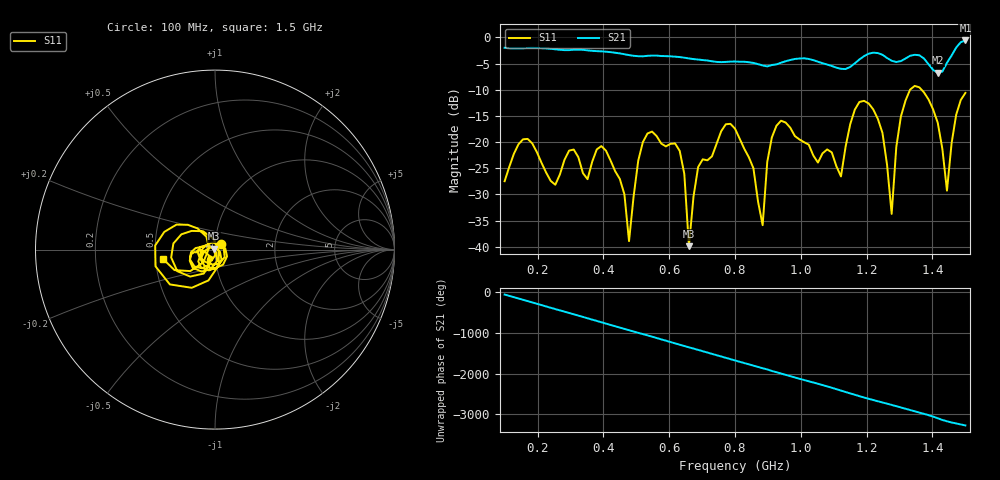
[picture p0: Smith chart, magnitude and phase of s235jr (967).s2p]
! NanoVNA-App
! Date: 2025-09-25 15:11:41
! Start: 100MHz Stop: 1,5GHz Points: 101
! S-Parameter data: F S11 S21 S12 S22
# Hz S RI R 50
!  Frequency  S11_Real  S11_Imag  S21_Real  S21_Imag  S12_Real  S12_Imag  S22_Real  S22_Imag
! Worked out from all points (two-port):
!   101 points, 100 MHz to 1.5 GHz, reference 50 ohm
!   highest |S21| = -0.57 dB at 1.5 GHz (marker M1); lowest = -6.8 dB at 1.416 GHz (marker M2)
!   |S21| within 3 dB of the highest: start of sweep to 504.2 MHz; 524.6 MHz to 591.9 MHz (67.35 MHz wide, 12.1 % of centre) (the widest 2 of 5)
!   lowest |S11| = -39.9 dB at 660 MHz (marker M3), VSWR 1.02, Z = 49.2 + j0.598 ohm
!   |S11| at or under -10 dB: start of sweep to 1.332 GHz; 1.367 GHz to end of sweep
!   S12 and S22 are empty: the file has one direction only
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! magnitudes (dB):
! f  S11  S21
! 100 MHz  -27.5  -2.0
! 156 MHz  -19.5  -2.1
! 338 MHz  -25.9  -2.4
! 408 MHz  -21.6  -2.7
! 478 MHz  -38.9  -3.4
! 520 MHz  -20.0  -3.6
! 576 MHz  -20.3  -3.5
! 632 MHz  -21.7  -3.7
! 660 MHz  -39.9  -4.0
! 688 MHz  -24.7  -4.2
! 800 MHz  -17.4  -4.6
! 884 MHz  -35.9  -5.3
! 926 MHz  -16.9  -5.1
! 1.038 GHz  -22.6  -4.3
! 1.122 GHz  -26.5  -6.0
! 1.206 GHz  -12.6  -3.1
! 1.248 GHz  -18.2  -3.3
! 1.276 GHz  -33.7  -4.5
! 1.332 GHz  -10.0  -3.5
! 1.416 GHz  -16.3  -6.8
! 1.444 GHz  -29.3  -4.8
! 1.5 GHz  -10.6  -0.6
